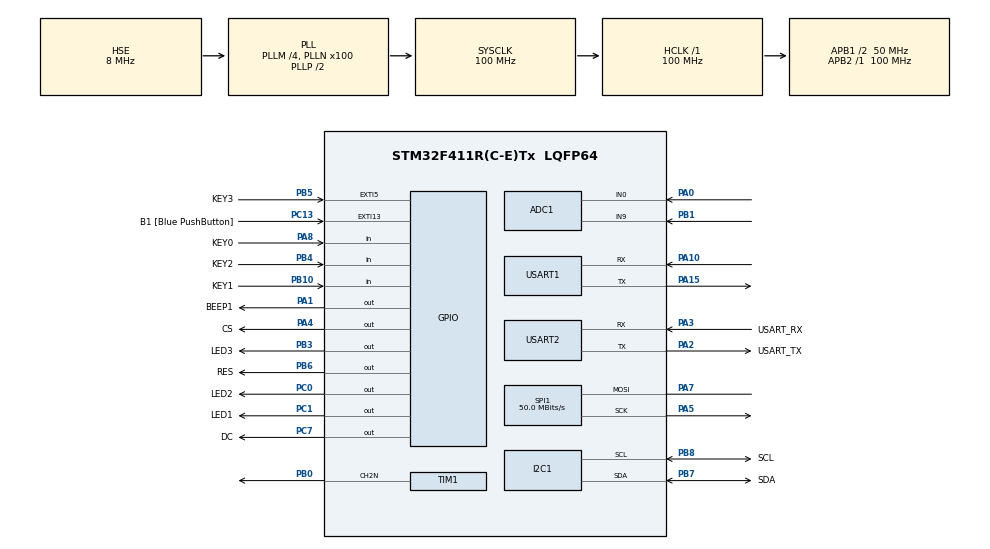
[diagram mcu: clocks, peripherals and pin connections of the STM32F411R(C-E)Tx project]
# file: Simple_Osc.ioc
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ADC1.Channel-0\#ChannelRegularConversion=ADC_CHANNEL_0
ADC1.ContinuousConvMode=ENABLE
ADC1.DMAContinuousRequests=ENABLE
ADC1.EOCSelection=ADC_EOC_SEQ_CONV
ADC1.ExternalTrigConv=ADC_EXTERNALTRIGCONV_T3_TRGO
ADC1.NbrOfConversion=1
ADC1.NbrOfConversionFlag=1
ADC1.Rank-0\#ChannelRegularConversion=1
ADC1.SamplingTime-0\#ChannelRegularConversion=ADC_SAMPLETIME_112CYCLES
ADC1.ScanConvMode=ENABLE
ADC1.master=1
Dma.ADC1.0.Direction=DMA_PERIPH_TO_MEMORY
Dma.ADC1.0.FIFOMode=DMA_FIFOMODE_DISABLE
Dma.ADC1.0.Instance=DMA2_Stream0
Dma.ADC1.0.MemDataAlignment=DMA_MDATAALIGN_WORD
Dma.ADC1.0.MemInc=DMA_MINC_ENABLE
Dma.ADC1.0.Mode=DMA_CIRCULAR
Dma.ADC1.0.PeriphDataAlignment=DMA_PDATAALIGN_WORD
Dma.ADC1.0.PeriphInc=DMA_PINC_DISABLE
Dma.ADC1.0.Priority=DMA_PRIORITY_VERY_HIGH
Dma.Request0=ADC1
Dma.Request1=SPI1_TX
Dma.SPI1_TX.1.Direction=DMA_MEMORY_TO_PERIPH
Dma.SPI1_TX.1.FIFOMode=DMA_FIFOMODE_DISABLE
Dma.SPI1_TX.1.Instance=DMA2_Stream2
Dma.SPI1_TX.1.MemDataAlignment=DMA_MDATAALIGN_BYTE
Dma.SPI1_TX.1.MemInc=DMA_MINC_ENABLE
Dma.SPI1_TX.1.Mode=DMA_NORMAL
Dma.SPI1_TX.1.PeriphDataAlignment=DMA_PDATAALIGN_BYTE
Dma.SPI1_TX.1.PeriphInc=DMA_PINC_DISABLE
Dma.SPI1_TX.1.Priority=DMA_PRIORITY_VERY_HIGH
Mcu.Family=STM32F4
Mcu.Name=STM32F411R(C-E)Tx
Mcu.Package=LQFP64
NVIC.ADC_IRQn=true\:0\:0\:false\:false\:true\:true\:true\:true
NVIC.DMA2_Stream0_IRQn=true\:0\:0\:false\:false\:true\:false\:true\:true
NVIC.DMA2_Stream2_IRQn=true\:0\:0\:false\:false\:true\:false\:true\:true
NVIC.PriorityGroup=NVIC_PRIORITYGROUP_0
NVIC.TIM2_IRQn=true\:0\:0\:false\:false\:true\:true\:true\:true
PA0-WKUP.Signal=ADCx_IN0
PA1.GPIO_Label=BEEP1
PA1.GPIO_PuPd=GPIO_PULLUP
PA1.Signal=GPIO_Output
PA10.Mode=Asynchronous
PA10.Signal=USART1_RX
PA13.GPIO_Label=TMS
PA13.Mode=Serial_Wire
PA13.Signal=SYS_JTMS-SWDIO
PA14.GPIO_Label=TCK
PA14.Mode=Serial_Wire
PA14.Signal=SYS_JTCK-SWCLK
PA15.Mode=Asynchronous
PA15.Signal=USART1_TX
PA2.GPIO_Label=USART_TX
PA2.Mode=Asynchronous
PA2.Signal=USART2_TX
PA3.GPIO_Label=USART_RX
PA3.Mode=Asynchronous
PA3.Signal=USART2_RX
PA4.GPIO_Label=CS
PA4.GPIO_Speed=GPIO_SPEED_FREQ_VERY_HIGH
PA4.Signal=GPIO_Output
PA5.Mode=Simplex_Bidirectional_Master
PA5.Signal=SPI1_SCK
PA7.Mode=Simplex_Bidirectional_Master
PA7.Signal=SPI1_MOSI
PA8.GPIO_Label=KEY0
PA8.GPIO_PuPd=GPIO_PULLUP
PA8.Signal=GPIO_Input
PB0.Mode=PWM Generation2 CH2N
PB0.Signal=TIM1_CH2N
PB1.Signal=ADCx_IN9
PB10.GPIO_Label=KEY1
PB10.Signal=GPIO_Input
PB3.GPIO_Label=LED3
PB3.GPIO_PuPd=GPIO_PULLUP
PB3.Signal=GPIO_Output
PB4.GPIO_Label=KEY2
PB4.GPIO_PuPd=GPIO_PULLUP
PB4.Signal=GPIO_Input
PB5.GPIO_Label=KEY3
PB5.GPIO_PuPd=GPIO_PULLUP
PB5.Signal=GPXTI5
PB6.GPIO_Label=RES
PB6.GPIO_Speed=GPIO_SPEED_FREQ_VERY_HIGH
PB6.Signal=GPIO_Output
PB7.GPIO_Label=SDA
PB7.Mode=I2C
PB7.Signal=I2C1_SDA
PB8.GPIO_Label=SCL
PB8.Mode=I2C
PB8.Signal=I2C1_SCL
PC0.GPIO_Label=LED2
PC0.Signal=GPIO_Output
PC1.GPIO_Label=LED1
PC1.GPIO_PuPd=GPIO_PULLUP
PC1.Signal=GPIO_Output
PC13-ANTI_TAMP.GPIO_Label=B1 [Blue PushButton]
PC13-ANTI_TAMP.GPIO_ModeDefaultEXTI=GPIO_MODE_IT_FALLING
PC13-ANTI_TAMP.Signal=GPXTI13
PC14-OSC32_IN.Mode=LSE-External-Oscillator
PC14-OSC32_IN.Signal=RCC_OSC32_IN
PC15-OSC32_OUT.Mode=LSE-External-Oscillator
PC15-OSC32_OUT.Signal=RCC_OSC32_OUT
PC7.GPIO_Label=DC
PC7.GPIO_Speed=GPIO_SPEED_FREQ_VERY_HIGH
PC7.Signal=GPIO_Output
PH0\ -\ OSC_IN.Mode=HSE-External-Clock-Source
PH0\ -\ OSC_IN.Signal=RCC_OSC_IN
PH1\ -\ OSC_OUT.Mode=HSE-External-Clock-Source
PH1\ -\ OSC_OUT.Signal=RCC_OSC_OUT
ProjectManager.HeapSize=0x4000
ProjectManager.StackSize=0x8000
ProjectManager.TargetToolchain=MDK-ARM V5.32
RCC.48MHZClocksFreq_Value=50000000
RCC.AHBFreq_Value=100000000
RCC.APB1CLKDivider=RCC_HCLK_DIV2
RCC.APB1Freq_Value=50000000
RCC.APB1TimFreq_Value=100000000
RCC.APB2Freq_Value=100000000
RCC.APB2TimFreq_Value=100000000
RCC.CortexFreq_Value=100000000
RCC.FLatency-AdvancedSettings=FLASH_LATENCY_3
RCC.HCLKFreq_Value=100000000
RCC.HSE_VALUE=8000000
RCC.HSI_VALUE=16000000
RCC.PLLM=4
RCC.PLLN=100
RCC.PLLSourceVirtual=RCC_PLLSOURCE_HSE
RCC.SYSCLKFreq_VALUE=100000000
RCC.SYSCLKSource=RCC_SYSCLKSOURCE_PLLCLK
RCC.VCOOutputFreq_Value=200000000
SH.ADCx_IN0.0=ADC1_IN0,IN0
SH.ADCx_IN9.0=ADC1_IN9,IN9
SPI1.BaudRatePrescaler=SPI_BAUDRATEPRESCALER_2
SPI1.CLKPhase=SPI_PHASE_1EDGE
SPI1.CLKPolarity=SPI_POLARITY_LOW
SPI1.CalculateBaudRate=50.0 MBits/s
SPI1.Direction=SPI_DIRECTION_1LINE
SPI1.Mode=SPI_MODE_MASTER
SPI1.VirtualType=VM_MASTER
STMicroelectronics.X-CUBE-ALGOBUILD.1.3.0.LibraryCcDSPOoLibraryJjDSPOoLibrary=true
TIM1.Channel-PWM\ Generation2\ CH2N=TIM_CHANNEL_2
TIM1.Period=500-1
TIM1.Prescaler=100-1
TIM1.Pulse-PWM\ Generation2\ CH2N=200-1
TIM2.AutoReloadPreload=TIM_AUTORELOAD_PRELOAD_ENABLE
TIM2.Period=1000-1
TIM2.Prescaler=99-1
TIM3.Period=100-1
TIM3.Prescaler=50-1
TIM3.TIM_MasterOutputTrigger=TIM_TRGO_UPDATE
USART1.VirtualMode=VM_ASYNC
USART2.VirtualMode=VM_ASYNC
VP_STMicroelectronics.X-CUBE-ALGOBUILD_VS_DSPOoLibraryJjLibrary_1.3.0_1.3.0.Mode=DSPOoLibraryJjLibrary
VP_TIM1_VS_ClockSourceINT.Mode=Internal
VP_TIM2_VS_ClockSourceINT.Mode=Internal
VP_TIM3_VS_ClockSourceINT.Mode=Internal
board=NUCLEO-F411RE

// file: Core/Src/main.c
/* USER CODE BEGIN Header */
/**
  ******************************************************************************
  * @file           : main.c
  * @brief          : Main program body
  ******************************************************************************
  * @attention
  *
  * Copyright (c) 2023 STMicroelectronics.
  * All rights reserved.
  *
  * This software is licensed under terms that can be found in the LICENSE file
  * in the root directory of this software component.
  * If no LICENSE file comes with this software, it is provided AS-IS.
  *
  ******************************************************************************
  */
/* USER CODE END Header */
#include "main.h"
#include "adc.h"
#include "dma.h"
#include "i2c.h"
#include "spi.h"
#include "tim.h"
#include "usart.h"
#include "gpio.h"

/* USER CODE BEGIN Includes */
#include "ILI9341_Driver.h"
#include "ST7789_Driver.h"
#include "stdio.h"

#include "lvgl.h"
#include "lv_port_disp_template.h"
#include "lv_port_indev_template.h"

#include "multi_button.h"

#include "homepage.h"
#include "simple_oscilloscope.h"
#include "picture.h"
#include "init_menu.h"
#include "menu.h"

#include "arm_math.h"

/* USER CODE END Includes */

/* USER CODE BEGIN PV */

//============================== ADC变量定义 ========================================
/* 定义ADC采样的数据个数 */
#define ADC_SAMPLE_NUM  1000

/* 定义ADC采样的数据缓存区 */
uint32_t ADC_Value[ADC_SAMPLE_NUM];

//FFT长度，默认是1024点FFT
#define FFT_LENGTH		ADC_SAMPLE_NUM

/*全局变量，在main之前定义*/
arm_cfft_radix4_instance_f32 scfft;//定义scfft结构体
float FFT_InputBuf[FFT_LENGTH*2]; //FFT输入数组
float FFT_OutputBuf[FFT_LENGTH]; //FFT输出数组
//============================== ADC变量定义 ========================================
//============================== MultiButton 结构体定义 ======================================
enum Button_ID
{
      btn1_id, btn2_id, btn3_id
};

struct Button btn1, btn2, btn3;
//============================== MultiButton 结构体定义 ======================================
/* USER CODE END PV */

void SystemClock_Config(void);

/* USER CODE BEGIN 0 */

//============================== MultiButton 回调函数 ======================================
uint8_t read_button_GPIO(uint8_t button_id)
{
	// you can share the GPIO read function with multiple Buttons
	switch(button_id)
	{
		case btn1_id:
			return HAL_GPIO_ReadPin(KEY0_GPIO_Port, KEY0_Pin);
			break;
		case btn2_id:
			return HAL_GPIO_ReadPin(KEY1_GPIO_Port, KEY1_Pin);
			break;
		case btn3_id:
			return HAL_GPIO_ReadPin(KEY2_GPIO_Port, KEY2_Pin);
			break;
		default:
			return 0;
			break;
	}
}
//============================== MultiButton 回调函数 ======================================

//// Function prototypes for menu actions
//void init_menu_action(void);
//void oscilloscope_action(void);
//void lv_simple_oscilloscope_action(void);

////lv_simple_oscilloscope();
////img_wechat_donate();
////img_chat_head();
////img_icons8_oscilloscope_64();
////init_menu();
////lv_simple_oscilloscope();

//void init_anim_action()
//{
//	init_anim();
//}
void img_icons8_oscilloscope_64_action()
{
	img_icons8_oscilloscope_64();
}
void img_chat_head_action()
{
	img_chat_head();
}
void img_wechat_donate_action()
{
	img_wechat_donate();
}
bool shouldUpdateOsc = false;
void lv_simple_oscilloscope_action()
{
	lv_simple_oscilloscope();
	shouldUpdateOsc = true;
	user_main_debug("creat Simple Oscilloscope done!\n");
}

// 首先声明所有的菜单项
//struct MenuItem my_menu_init;
struct MenuItem menu_oscilloscope;
struct MenuItem menu_lv_simple_oscilloscope;
struct MenuItem menu_wechat_img;
struct MenuItem menu_head_img;

//struct MenuItem my_menu_init = {
//    .action = init_anim_action,
//    .hide_action = init_anim_hide_action,
//    .subMenu = &menu_oscilloscope,
//    .parentMenu = NULL,
//    .prev = NULL,
//    .next = NULL
//};

struct MenuItem menu_oscilloscope = {
    .action = img_icons8_oscilloscope_64_action,
    .hide_action = img_icons8_oscilloscope_64_hide_action,
    .subMenu = &menu_lv_simple_oscilloscope,
    .parentMenu = NULL,
    .prev = &menu_wechat_img,
    .next = &menu_head_img
};
struct MenuItem menu_wechat_img = {
    .action = img_chat_head_action,
    .hide_action = img_chat_head_hide_action,
    .subMenu = NULL,
    .parentMenu = NULL,
    .prev = NULL,
    .next = &menu_oscilloscope
};
struct MenuItem menu_head_img = {
    .action = img_wechat_donate_action,
    .hide_action = img_wechat_donate_hide_action,
    .subMenu = NULL,
    .parentMenu = NULL,
    .prev = &menu_oscilloscope,
    .next = NULL
};

struct MenuItem menu_lv_simple_oscilloscope = {
    .action = lv_simple_oscilloscope_action,
    .hide_action = lv_simple_oscilloscope_hide_action,
    .subMenu = NULL,
    .parentMenu = &menu_oscilloscope,
    .prev = NULL,
    .next = NULL
};

// Pointer to current menu
MenuItem *currentMenu = &menu_oscilloscope;

//============================== MultiButton 回调处理 ======================================

bool ClickToStart = false;

//void BTN2_SINGLE_Click_Handler(void* btn)
//{
//    shouldUpdateSer1 = false;  // 设置标志以防止更新ser1
//	ClickToStart = false;

//}

//void BTN2_DOUBLE_Click_Handler(void* btn)
//{
//    shouldUpdateSer1 = true;  // 重置标志以允许更新ser1
//	ClickToStart = true;
//}

//void BTN1_SINGLE_Click_Handler(void* btn)
//{
//	HAL_GPIO_WritePin(LED3_GPIO_Port,LED3_Pin,1);
//}
//void BTN3_SINGLE_Click_Handler(void* btn)
//{
//	HAL_GPIO_WritePin(LED3_GPIO_Port,LED3_Pin,1);
//}

void BTN1_SINGLE_Click_Handler(void* btn)
{
    menu_prev(&currentMenu);
}
void BTN3_SINGLE_Click_Handler(void* btn)
{
	menu_next(&currentMenu);
}
void BTN2_SINGLE_Click_Handler(void* btn)
{
	menu_select(&currentMenu);
}
void BTN2_DOUBLE_Click_Handler(void* btn)
{
    menu_back(&currentMenu);
}

//============================== MultiButton 回调处理 ======================================

void ChangeTimerParameters(TIM_HandleTypeDef *htim, uint32_t prescaler, uint32_t period)
{
    HAL_TIM_Base_Stop(htim); // Stop the timer

    htim->Init.Prescaler = prescaler; // Change the prescaler
    htim->Init.Period = period; // Change the period

    if (HAL_TIM_Base_Init(htim) != HAL_OK) // Re-initialize the timer with the new parameters
    {
        // Handle the error
    }

    HAL_TIM_Base_Start(htim); // Start the timer
}

//============================== 串口重定向开始 ======================================
int fputc(int ch, FILE *f)
{
	uint8_t temp[1] = {ch};
	HAL_UART_Transmit(&huart2, temp, 1, 2);//hlpuart1需要根据你的配置修改
	return ch;
}
//============================== 串口重定向结束 ======================================

//============================== FFT 函数开始 ======================================
/* 初始化FFT实例 */
//void FFT_Init(void)
//{
//    arm_cfft_radix4_init_f32(&scfft, FFT_LENGTH, 0, 1);
//}
//float32_t frequency = 0;
///* 计算FFT并提取频率 */
//void ComputeFFT(void)
//{
//    for (uint32_t i = 0; i < FFT_LENGTH; i++)
//    {
//        /* 注意: 这里假设了ADC输出是12位的 */
//        FFT_InputBuf[2 * i] = ((float32_t)ADC_Value[i]) / 4096.0f;
//        FFT_InputBuf[2 * i + 1] = 0;
//    }

//    arm_cfft_radix4_f32(&scfft, FFT_InputBuf);

//    arm_cmplx_mag_f32(FFT_InputBuf, FFT_OutputBuf, FFT_LENGTH);

//    /* 找到频谱中最大值的索引 */
//    uint32_t maxIndex;
//    arm_max_f32(FFT_OutputBuf, FFT_LENGTH, NULL, &maxIndex);

//    /* 计算频率: 这里采样率是20kHz */
//    frequency = ((float32_t)maxIndex) * 20000.0f / FFT_LENGTH;

//    /* 这里可以使用计算得到的频率值 */
//}
//============================== FFT 函数结束 ======================================

/* USER CODE END 0 */

int main(void)
{

  /* MCU Configuration--------------------------------------------------------*/

  /* Reset of all peripherals, Initializes the Flash interface and the Systick. */
  HAL_Init();

  /* Configure the system clock */
  SystemClock_Config();

  /* Initialize all configured peripherals */
  MX_GPIO_Init();
  MX_DMA_Init();
  MX_USART2_UART_Init();
  MX_SPI1_Init();
  MX_USART1_UART_Init();
  MX_ADC1_Init();
  MX_I2C1_Init();
  MX_TIM2_Init();
  MX_TIM1_Init();
  MX_TIM3_Init();
  /* USER CODE BEGIN 2 */
ST7789_Init();

lv_init();
lv_port_disp_init();
lv_port_indev_init();

HAL_TIM_Base_Start_IT(&htim2);
HAL_TIM_Base_Start(&htim3);
HAL_ADC_Start_DMA(&hadc1, (uint32_t*)&ADC_Value, ADC_SAMPLE_NUM);

//lv_simple_oscilloscope();
//img_wechat_donate();
//img_chat_head();
//img_icons8_oscilloscope_64();
//lv_simple_oscilloscope();
//init_anim();

//lv_obj_t * arc_init = init_anim();

currentMenu->action();
//cleanup_lvgl_components(arc_init);

HAL_TIM_PWM_Start(&htim1,TIM_CHANNEL_2);

button_init(&btn2, read_button_GPIO, 0, btn2_id);
button_attach(&btn2, SINGLE_CLICK,     BTN2_SINGLE_Click_Handler);
button_attach(&btn2, DOUBLE_CLICK,     BTN2_DOUBLE_Click_Handler);
button_start(&btn2);

button_init(&btn1, read_button_GPIO, 0, btn1_id);
button_attach(&btn1, SINGLE_CLICK,     BTN1_SINGLE_Click_Handler);
button_start(&btn1);

button_init(&btn3, read_button_GPIO, 0, btn3_id);
button_attach(&btn3, SINGLE_CLICK,     BTN3_SINGLE_Click_Handler);
button_start(&btn3);

  /* USER CODE END 2 */

  /* Infinite loop */
  /* USER CODE BEGIN WHILE */
  while (1)
  {
	  lv_task_handler();
	  if(shouldUpdateOsc)
		lv_update_value_mul(ADC_SAMPLE_NUM, ADC_Value);
//	  cleanup_lvgl_components();
    /* USER CODE END WHILE */

  }
}

void SystemClock_Config(void)
{
  RCC_OscInitTypeDef RCC_OscInitStruct = {0};
  RCC_ClkInitTypeDef RCC_ClkInitStruct = {0};

  /** Configure the main internal regulator output voltage
  */
  __HAL_RCC_PWR_CLK_ENABLE();
  __HAL_PWR_VOLTAGESCALING_CONFIG(PWR_REGULATOR_VOLTAGE_SCALE1);

  /** Initializes the RCC Oscillators according to the specified parameters
  * in the RCC_OscInitTypeDef structure.
  */
  RCC_OscInitStruct.OscillatorType = RCC_OSCILLATORTYPE_HSE;
  RCC_OscInitStruct.HSEState = RCC_HSE_BYPASS;
  RCC_OscInitStruct.PLL.PLLState = RCC_PLL_ON;
  RCC_OscInitStruct.PLL.PLLSource = RCC_PLLSOURCE_HSE;
  RCC_OscInitStruct.PLL.PLLM = 4;
  RCC_OscInitStruct.PLL.PLLN = 100;
  RCC_OscInitStruct.PLL.PLLP = RCC_PLLP_DIV2;
  RCC_OscInitStruct.PLL.PLLQ = 4;
  if (HAL_RCC_OscConfig(&RCC_OscInitStruct) != HAL_OK)
  {
    Error_Handler();
  }

  /** Initializes the CPU, AHB and APB buses clocks
  */
  RCC_ClkInitStruct.ClockType = RCC_CLOCKTYPE_HCLK|RCC_CLOCKTYPE_SYSCLK
                              |RCC_CLOCKTYPE_PCLK1|RCC_CLOCKTYPE_PCLK2;
  RCC_ClkInitStruct.SYSCLKSource = RCC_SYSCLKSOURCE_PLLCLK;
  RCC_ClkInitStruct.AHBCLKDivider = RCC_SYSCLK_DIV1;
  RCC_ClkInitStruct.APB1CLKDivider = RCC_HCLK_DIV2;
  RCC_ClkInitStruct.APB2CLKDivider = RCC_HCLK_DIV1;

  if (HAL_RCC_ClockConfig(&RCC_ClkInitStruct, FLASH_LATENCY_3) != HAL_OK)
  {
    Error_Handler();
  }
}

/* USER CODE BEGIN 4 */
uint8_t timer = 0;
void HAL_SYSTICK_Callback()
{
	timer++;
	if(timer > 5)
	{
		button_ticks(); //1ms ticks
		timer = 0;
	}
	lv_tick_inc(1);//在中断里面进行刷新
}

//uint8_t timer1 = 0;
//void HAL_TIM_PeriodElapsedCallback(TIM_HandleTypeDef *htim) {
//	if(htim-> Instance == htim2.Instance) {
//		timer1++;
//		if(timer1 > 51)
//
////			// 将采样的 100 个电压数据进行均值滤波
////		  for(i = 0, ad1 = 0; i < ADC_SAMPLE_NUM;)
////			ad1 += ADC_Value[i++];
////		  ad1 /= ADC_SAMPLE_NUM;
//	}
//
//}
/* ADC DMA中断服务程序 */
//void HAL_ADC_ConvCpltCallback(ADC_HandleTypeDef* hadc)
//{
//    if(hadc->Instance == ADC1)
//    {
//        ComputeFFT();
//    }
//}
/* USER CODE END 4 */

void Error_Handler(void)
{
  __disable_irq();
  while (1)
  {
  }
}
